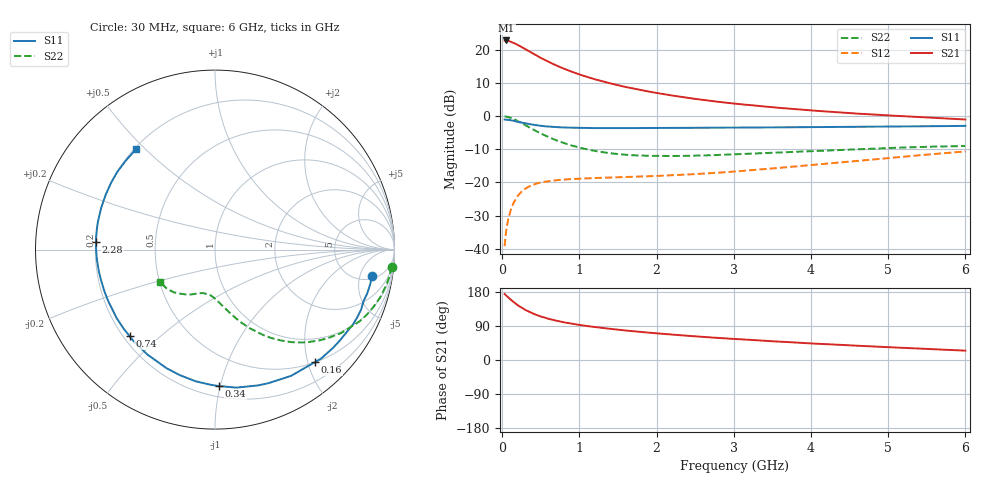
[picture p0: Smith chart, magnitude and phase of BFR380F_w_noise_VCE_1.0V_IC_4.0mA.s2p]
! Infineon Technologies  Discrete & RF Semiconductors
! BFR380F
! VCE =  1.0 V,  IC =  4.0 mA
! Common Emitter S-Parameters:  Nov 2015
# GHz  S  MA  R  50
!  f  S11  S21  S12  S22
! GHz  MAG  ANG  MAG  ANG  MAG  ANG  MAG  ANG
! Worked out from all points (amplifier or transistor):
!   206 points, 30 MHz to 6 GHz, reference 50 ohm
!   highest |S21| = 22.8 dB at 50 MHz (marker M1)
!   |S21| within 3 dB of that: start of sweep to 326.9 MHz
!   unconditionally stable (mu >= 1): 2.248 GHz to end of sweep
!   at 200 MHz: K = 0.11, MSG = 22.7 dB, |S12| = -24.1 dB
!   at 1.56 GHz: K = 0.78, MSG = 13.7 dB, |S12| = -18.4 dB
!   at 6 GHz: K = 1.00, MAG = 4.4 dB, |S12| = -10.7 dB
!   lowest NFmin = 0.76 dB at 450 MHz
!   S11 on the Smith chart (normalised r, x): 30 MHz: 5.73, -7.94; 160 MHz: 0.50, -2.13; 340 MHz: 0.27, -0.99; 740 MHz: 0.22, -0.40; 2.28 GHz: 0.20, +0.03; 6 GHz: 0.21, +0.47
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0.03  0.888 -9.5  13.69 174.1  0.011 84.8  0.9884 -5.6
0.05  0.8826 -16.1  13.72 169.8  0.0184 82.3  0.9814 -9.3
0.08  0.8779 -25.4  13.5 164.7  0.0287 77.1  0.9636 -14.7
0.12  0.8591 -37.2  13 157.3  0.0415 71.0  0.9298 -21.6
0.16  0.8387 -48.3  12.42 150.9  0.0526 65.2  0.8874 -27.7
0.2  0.8213 -58.9  11.78 144.6  0.0627 60.4  0.8426 -33.5
0.24  0.8019 -68.1  11.1 139.5  0.0708 56.0  0.7958 -38.5
0.3  0.7781 -81.2  10.15 132.0  0.0809 50.5  0.727 -45.3
0.34  0.7605 -88.4  9.514 128.0  0.0861 47.3  0.6846 -49.0
0.4  0.7416 -98.4  8.678 122.3  0.0925 43.5  0.6261 -54.0
0.5  0.714 -112.2  7.483 114.7  0.1001 38.7  0.5448 -60.7
0.6  0.6952 -123.0  6.523 108.6  0.105 35.3  0.481 -66.0
0.74  0.6775 -134.6  5.509 102.1  0.1093 32.4  0.4143 -71.8
0.9  0.668 -144.9  4.637 95.8  0.1126 30.5  0.3594 -77.1
1.04  0.6611 -151.9  4.078 91.4  0.1146 29.8  0.3262 -81.0
1.46  0.6577 -166.8  2.981 80.8  0.1192 30.6  0.2707 -90.6
2.02  0.6624 -179.4  2.203 70.1  0.1257 34.9  0.2511 -100.4
2.28  0.6643 176.2  1.973 65.8  0.1297 37.5  0.2511 -104.0
3.1  0.671 164.9  1.501 54.5  0.149 45.8  0.2682 -113.5
4.1  0.6823 152.1  1.192 42.8  0.1873 52.7  0.2985 -123.2
5.1  0.6962 140.2  1.008 32.9  0.2385 55.4  0.333 -135.3
6  0.7117 128.3  0.887 24.7  0.2927 53.9  0.3546 -149.6
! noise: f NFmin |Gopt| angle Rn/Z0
0.45  0.76  0.33  41  0.13
0.9  0.77  0.32  86  0.16
1.8  1.22  0.4  146  0.09
1.9  1.36  0.42  149  0.09
2.4  1.57  0.44  166  0.08
3.5  2.35  0.52  -165  0.1
